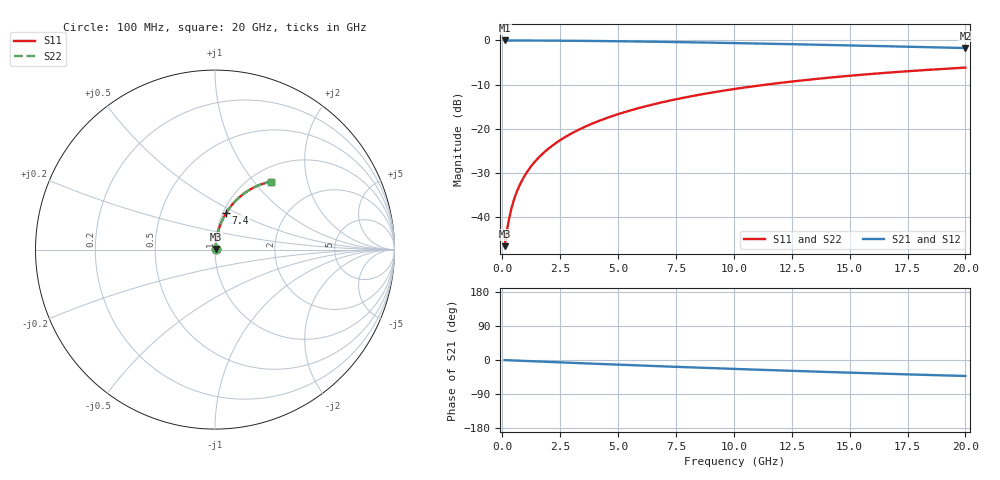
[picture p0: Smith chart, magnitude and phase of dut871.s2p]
! Touchstone file exported from HFSS 2024.1.0
!  File:  C:/UserFiles/LocalFiles/RDL_TSV_Batchsim/temp_RDL_top_871_1779856420.aedt
!  Generated:  12:35:58 PM May 27, 2026
!  Design:  RDL_top
!  Project:  temp_RDL_top_871_1779856420
!  Setup:  Setup1
!  Solution:  Sweep
! Variables:
!  dtsv = 10.80580581um
!  hbump = 3um
!  htsv = 70.59um
!  ldown = 100um
!  lrdl = 524.48um
!  p = 40
!  p1 = 55.28um
!  rhole = 1um
!  t = 450um
!  tdown = 3.915915916um
!  trdl = 4.74um
!  wdown = 15.38538539um
!  wrdl = 10.96um
# GHz S MA R 50.000000
! Terminal data exported
! Port[1] = Box2_T1
! Port[2] = Box2_T2
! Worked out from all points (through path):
!   200 points, 100 MHz to 20 GHz, reference 50 ohm
!   highest |S21| = -0.03 dB at 100 MHz (marker M1); lowest = -1.7 dB at 20 GHz (marker M2)
!   group delay of S21, straight-line fit = 5.86 ps
!   lowest |S11| = -46.5 dB at 100 MHz (marker M3), VSWR 1.01, Z = 50.4 + j0.307 ohm
!   |S11| at or under -10 dB: start of sweep to 11.41 GHz
!   |S22| runs from -46.5 to -6.2 dB; largest |S21 - S12| = 3.2e-15
!   S11 on the Smith chart (normalised r, x): 100 MHz: 1.01, +0.01; 7.4 GHz: 1.04, +0.44; 20 GHz: 1.23, +1.23
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0.1  0.004728 40.1  0.9964 -0.3  0.9964 -0.3  0.004728 40.1
! Gamma 0 0 0 0
! Port Impedance 50 0 50 0
0.2  0.007103 59.0  0.9963 -0.5  0.9963 -0.5  0.007103 59.0
0.3  0.009859 67.8  0.9962 -0.8  0.9962 -0.8  0.009858 67.8
0.4  0.01274 72.5  0.9961 -1.0  0.9961 -1.0  0.01274 72.5
0.5  0.01568 75.4  0.996 -1.3  0.996 -1.3  0.01568 75.4
0.6  0.01865 77.3  0.9958 -1.5  0.9958 -1.5  0.01864 77.3
0.8  0.02459 79.5  0.9955 -2.0  0.9955 -2.0  0.02459 79.5
1.1  0.03349 81.0  0.995 -2.8  0.995 -2.8  0.03349 81.0
1.5  0.04529 81.7  0.994 -3.8  0.994 -3.8  0.04529 81.7
1.8  0.05409 81.8  0.9932 -4.5  0.9932 -4.5  0.05409 81.8
2.1  0.06287 81.7  0.9922 -5.3  0.9922 -5.3  0.06287 81.7
2.7  0.08034 81.1  0.9898 -6.7  0.9898 -6.7  0.08034 81.1
3.5  0.1035 80.1  0.9859 -8.7  0.9859 -8.7  0.1035 80.1
4.2  0.1236 79.0  0.9818 -10.4  0.9818 -10.4  0.1236 79.0
5  0.1464 77.6  0.9764 -12.3  0.9764 -12.3  0.1464 77.6
6.8  0.1967 74.3  0.9621 -16.5  0.9621 -16.5  0.1967 74.3
7.4  0.2131 73.1  0.9568 -17.8  0.9568 -17.8  0.2131 73.1
8.7  0.2478 70.6  0.9445 -20.7  0.9445 -20.7  0.2478 70.6
10.1  0.2839 68.0  0.9303 -23.7  0.9303 -23.7  0.2839 68.0
13.4  0.3628 61.8  0.8942 -30.4  0.8942 -30.4  0.3628 61.8
16.7  0.4322 55.9  0.8561 -36.5  0.8561 -36.5  0.4321 55.9
20  0.4916 50.4  0.8179 -42.2  0.8179 -42.2  0.4916 50.4
